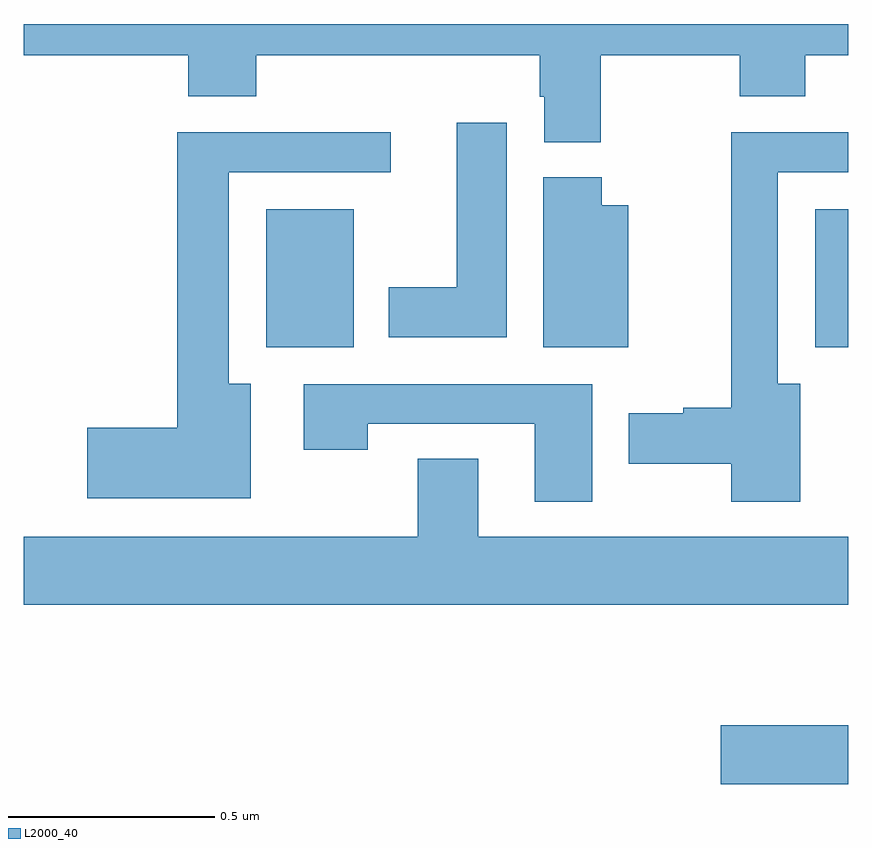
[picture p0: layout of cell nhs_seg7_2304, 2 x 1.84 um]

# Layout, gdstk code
import gdstk
lib = gdstk.Library(unit=1e-6, precision=1e-09)
def R(c, l, rs):  # rectangles x0, y0, x1, y1
    for r in rs: c.add(gdstk.rectangle(r[:2], r[2:], *l))
def P(c, l, *ps):  # polygons
    for p in ps: c.add(gdstk.Polygon(p, *l))
L2000_40 = (2000, 40)

nhs_seg7_2304 = lib.new_cell('nhs_seg7_2304')
R(nhs_seg7_2304, L2000_40, [(144.69,1024.157,145,1024.299), (143.588,1025.216,143.8,1025.551), (144.92,1025.216,145,1025.551)])
P(nhs_seg7_2304, L2000_40, [(144.399,1025.924),(144.736,1025.924),(144.736,1025.825),(144.896,1025.825),(144.896,1025.924),(145,1025.924),(145,1026),(143,1026),(143,1025.924),(143.399,1025.924),(143.399,1025.825),(143.564,1025.825),(143.564,1025.924),(144.251,1025.924),(144.251,1025.823),(144.263,1025.823),(144.263,1025.713),(144.399,1025.713)],
  [(144.172,1025.761),(144.05,1025.761),(144.05,1025.362),(143.885,1025.362),(143.885,1025.24),(144.172,1025.24)],
  [(143.551,1025.128),(143.497,1025.128),(143.497,1025.64),(143.89,1025.64),(143.89,1025.738),(143.372,1025.738),(143.372,1025.021),(143.154,1025.021),(143.154,1024.85),(143.551,1024.85)],
  [(144.883,1025.128),(144.829,1025.128),(144.829,1025.64),(145,1025.64),(145,1025.738),(144.716,1025.738),(144.716,1025.069),(144.6,1025.069),(144.6,1025.056),(144.468,1025.056),(144.468,1024.934),(144.716,1024.934),(144.716,1024.842),(144.883,1024.842)],
  [(144.466,1025.56),(144.402,1025.56),(144.402,1025.628),(144.26,1025.628),(144.26,1025.216),(144.466,1025.216)],
  [(144.379,1025.127),(143.679,1025.127),(143.679,1024.968),(143.835,1024.968),(143.835,1025.031),(144.239,1025.031),(144.239,1024.842),(144.379,1024.842)],
  [(145,1024.756),(144.103,1024.756),(144.103,1024.946),(143.956,1024.946),(143.956,1024.756),(143,1024.756),(143,1024.592),(145,1024.592)])

lib.write_gds('nhs_seg7_2304.gds')
